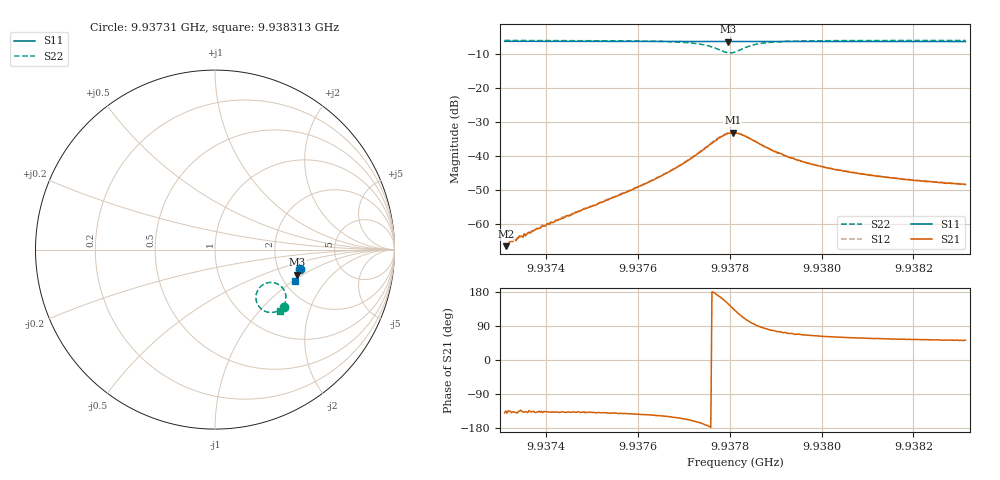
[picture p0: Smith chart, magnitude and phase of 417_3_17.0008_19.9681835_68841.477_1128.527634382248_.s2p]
#  HZ  S  RI  R  50.00
! Rohde & Schwarz Vector Network Analyzer
! Rohde-Schwarz,ZNB20-2Port,1311601062101988,3.16
! Created: UTC 3/20/2024, 11:10:48 PM
! freq[Hz]  re:S11  im:S11  re:S21  im:S21  re:S12  im:S12  re:S22  im:S22
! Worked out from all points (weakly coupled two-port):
!   401 points, 9.93731 GHz to 9.938313 GHz, reference 50 ohm
!   highest |S21| = -33.23 dB at 9.937806 GHz (marker M1); lowest = -66.6 dB at 9.937312 GHz (marker M2)
!   lowest |S11| = -6.4 dB at 9.937796 GHz (marker M3), VSWR 2.84, Z = 123 - j44.7 ohm
!   |S11| at or under -10 dB: nowhere
!   |S22| runs from -9.7 to -6.1 dB; largest |S21 - S12| = 0.00089
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9.9373096e9  0.4711 -0.109  -0.000374 -0.000319  -0.000377 -0.000309  0.3836 -0.3174
9.9373121e9  0.471 -0.1092  -0.000327 -0.000331  -0.000351 -0.000319  0.3834 -0.3174
9.9373422e9  0.4703 -0.1113  -0.000464 -0.000461  -0.000511 -0.000411  0.3812 -0.3199
9.9373924e9  0.4693 -0.1146  -0.000694 -0.000612  -0.000721 -0.000629  0.3769 -0.3235
9.9374777e9  0.4675 -0.1203  -0.00117 -0.00106  -0.0012 -0.00107  0.3685 -0.3305
9.9375831e9  0.4651 -0.1274  -0.00243 -0.00189  -0.00248 -0.0019  0.3524 -0.3404
9.9376458e9  0.4635 -0.1317  -0.00408 -0.00265  -0.00416 -0.00261  0.3354 -0.347
9.9376985e9  0.462 -0.1352  -0.00693 -0.00321  -0.00711 -0.00318  0.3093 -0.3503
9.9377437e9  0.4603 -0.1382  -0.0122 -0.00233  -0.0126 -0.00219  0.2666 -0.3371
9.9377763e9  0.4586 -0.1398  -0.0179 0.00371  -0.0181 0.00388  0.2298 -0.2843
9.9377964e9  0.4579 -0.1401  -0.0181 0.0112  -0.018 0.012  0.2395 -0.2246
9.9378064e9  0.4578 -0.1403  -0.0158 0.0151  -0.0157 0.0157  0.2623 -0.1989
9.9378115e9  0.4579 -0.1404  -0.0142 0.0165  -0.0139 0.017  0.2772 -0.1903
9.937824e9  0.4581 -0.1409  -0.00946 0.0185  -0.00895 0.0188  0.3159 -0.1831
9.9378391e9  0.4585 -0.1418  -0.00456 0.0179  -0.00402 0.0184  0.3535 -0.1942
9.9378641e9  0.4585 -0.1437  0.000335 0.015  0.000765 0.0151  0.3852 -0.2263
9.9378993e9  0.4579 -0.1463  0.00264 0.0111  0.00299 0.0113  0.3953 -0.2612
9.9379244e9  0.4574 -0.1481  0.00325 0.0093  0.00355 0.00921  0.395 -0.2778
9.9379796e9  0.456 -0.1519  0.00322 0.00672  0.00341 0.00677  0.3894 -0.2996
9.9380599e9  0.4542 -0.1573  0.00296 0.00493  0.0031 0.00495  0.3807 -0.317
9.9381477e9  0.4515 -0.1631  0.00268 0.00391  0.00279 0.00391  0.3725 -0.3285
9.9383133e9  0.447 -0.1737  0.0023 0.00297  0.00242 0.00297  0.3599 -0.3429
